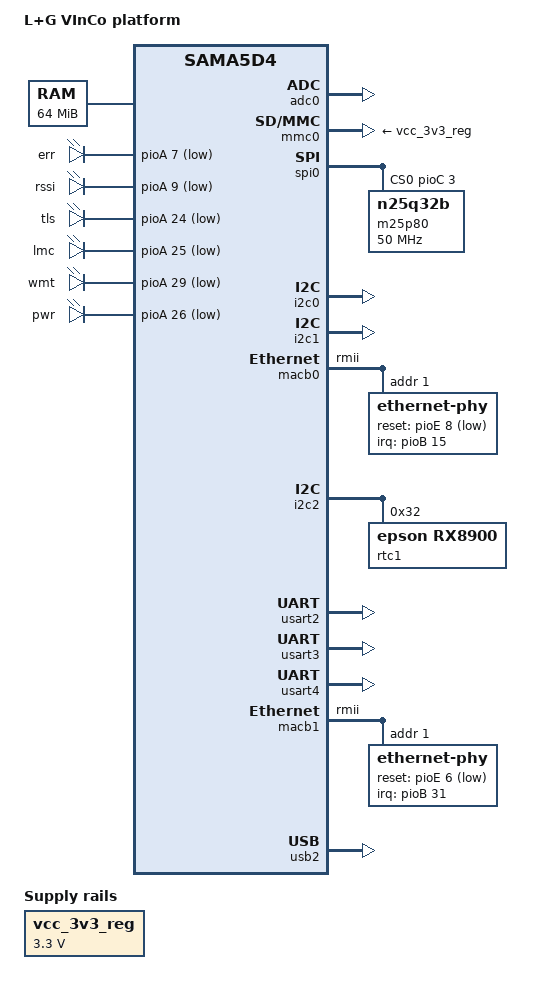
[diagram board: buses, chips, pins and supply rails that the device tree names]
// SPDX-License-Identifier: (GPL-2.0+ OR MIT)
/*
 * Device Tree file for VInCo platform
 *
 *  Copyright (C) 2014 Atmel,
 *                2014 Nicolas Ferre <nicolas.ferre@atmel.com>
 *   2015 Gregory CLEMENT <gregory.clement@free-electrons.com>
 */
/dts-v1/;
#include "sama5d4.dtsi"

/ {
	model = "L+G VInCo platform";
	compatible = "l+g,vinco", "atmel,sama5d4", "atmel,sama5";

	chosen {
		stdout-path = "serial0:115200n8";
	};

	memory {
		reg = <0x20000000 0x4000000>;
	};

	clocks {
		slow_xtal {
			clock-frequency = <32768>;
		};

		main_xtal {
			clock-frequency = <12000000>;
		};
	};

	ahb {
		apb {

			adc0: adc@fc034000 {
				status = "okay"; /* Enable ADC IIO support */
			};

			mmc0: mmc@f8000000 {
				pinctrl-names = "default";
				pinctrl-0 = <&pinctrl_mmc0_clk_cmd_dat0
					     &pinctrl_mmc0_dat1_3
					     &pinctrl_mmc0_dat4_7>;
				vqmmc-supply = <&vcc_3v3_reg>;
				vmmc-supply = <&vcc_3v3_reg>;
				no-1-8-v;
				status = "okay";
				slot@0 {
					reg = <0>;
					bus-width = <8>;
					non-removable;
					broken-cd;
					status = "okay";
				};
			};

			spi0: spi@f8010000 {
				cs-gpios = <&pioC 3 0>, <0>, <0>, <0>;
				status = "okay";
				m25p80@0 {
					compatible = "n25q32b", "jedec,spi-nor";
					spi-max-frequency = <50000000>;
					reg = <0>;
				};
			};

			i2c0: i2c@f8014000 {
				status = "okay";
			};

			i2c1: i2c@f8018000 {
				status = "okay";
				/* kerkey security module */
			};

			macb0: ethernet@f8020000 {
				phy-mode = "rmii";
				status = "okay";

				ethernet-phy@1 {
					reg = <0x1>;
					reset-gpios = <&pioE 8 GPIO_ACTIVE_LOW>;
					interrupt-parent = <&pioB>;
					interrupts = <15 IRQ_TYPE_EDGE_FALLING>;
				};

			};

			i2c2: i2c@f8024000 {
				status = "okay";

				rtc1: rtc@32 {
					compatible = "epson,rx8900";
					reg = <0x32>;
				};
			};

			usart2: serial@fc008000 {
				/* MBUS */
				status = "okay";
			};

			usart3: serial@fc00c000 {
				/* debug */
				status = "okay";
			};

			usart4: serial@fc010000 {
				/* LMN */
				pinctrl-0 = <&pinctrl_usart4 &pinctrl_usart4_rts>;
				linux,rs485-enabled-at-boot-time;
				status = "okay";
			};

			tcb2: timer@fc024000 {
				timer@0 {
					compatible = "atmel,tcb-timer";
					reg = <0>;
				};

				timer@1 {
					compatible = "atmel,tcb-timer";
					reg = <1>;
				};
			};

			macb1: ethernet@fc028000 {
				phy-mode = "rmii";
				status = "okay";
				#address-cells = <1>;
				#size-cells = <0>;
				status = "okay";

				ethernet-phy@1 {
					reg = <0x1>;
					interrupt-parent = <&pioB>;
					interrupts = <31 IRQ_TYPE_EDGE_FALLING>;
					reset-gpios = <&pioE 6 GPIO_ACTIVE_LOW>;
				};
			};

			watchdog@fc068640 {
				status = "okay";
			};

			pinctrl@fc06a000 {
				board {
					pinctrl_usba_vbus: usba_vbus {
						atmel,pins =
						<AT91_PIOE 31 AT91_PERIPH_GPIO AT91_PINCTRL_DEGLITCH>;
					};
				};
			};
		};

		usb0: gadget@400000 {
			atmel,vbus-gpio = <&pioE 31 GPIO_ACTIVE_HIGH>;
			pinctrl-names = "default";
			pinctrl-0 = <&pinctrl_usba_vbus>;
			status = "disable";
		};

		usb1: ohci@500000 {
			num-ports = <3>;
			atmel,vbus-gpio = <0
					   &pioE 11 GPIO_ACTIVE_LOW
					   &pioE 12 GPIO_ACTIVE_LOW
					  >;
			status = "disable";
		};

		usb2: ehci@600000 {
			/* 4G Modem */
			status = "okay";
		};

	};

	leds {
		compatible = "gpio-leds";
		status = "okay";

		led_err {
			label = "err";
			gpios = <&pioA 7 GPIO_ACTIVE_LOW>;
			default-state = "off";
		};

		led_rssi {
			label = "rssi";
			gpios = <&pioA 9 GPIO_ACTIVE_LOW>;
			default-state = "off";
		};

		led_tls {
			label = "tls";
			gpios = <&pioA 24 GPIO_ACTIVE_LOW>;
			default-state = "off";
		};

		led_lmc {
			label = "lmc";
			gpios = <&pioA 25 GPIO_ACTIVE_LOW>;
			default-state = "off";
		};

		led_wmt {
			label = "wmt";
			gpios = <&pioA 29 GPIO_ACTIVE_LOW>;
			default-state = "off";
		};

		led_pwr {
			label = "pwr";
			gpios = <&pioA 26 GPIO_ACTIVE_LOW>;
			default-state = "on";
		};

	};

	vcc_3v3_reg: fixedregulator_3v3 {
		compatible = "regulator-fixed";
		regulator-name = "VCC 3V3";
		regulator-min-microvolt = <3300000>;
		regulator-max-microvolt = <3300000>;
		regulator-boot-on;
		regulator-always-on;
	};
};
